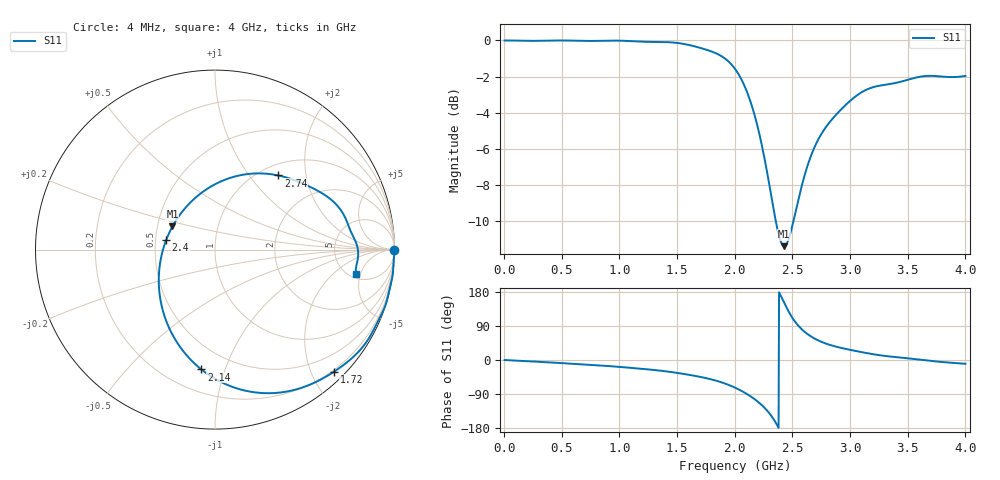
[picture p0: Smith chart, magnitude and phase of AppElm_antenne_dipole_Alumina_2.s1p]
! TOUCHSTONE file generated by CST MICROWAVE STUDIO
! Date and time: Sat May 14 10:02:54 2022
! Project name: AppElm_antenne_dipole_Alumina.cst
! Parameters = {L=33; e=0.035; f=2.45e+09; h=1.6; i=0.64; l1=2; lambda=122.449; ls=30; wl=1.7; ws=80}
! Header version: 2018
! Port assignment regex: !\s*Touchstone port\s*([0-9]+)\s*=\s*(CST MWS port|CST DS port)\s*([0-9]+|Zmin|Zmax)\s*\(\"(.*)\"\)(\s*mode\s*([0-9]+))?.*
! Touchstone port assignment:
! Touchstone port 1 = CST MWS port 1 ("")
# GHz S MA R 50
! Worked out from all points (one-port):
!   1000 points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, 4 MHz to 4 GHz, reference 50 ohm
!   lowest |S11| = -11.4 dB at 2.428 GHz (marker M1), VSWR 1.74, Z = 30 + j8.33 ohm
!   |S11| at or under -10 dB: 2.356 GHz to 2.508 GHz (152.5 MHz wide, 6.27 % of centre)
!   S11 on the Smith chart (normalised r, x): 4 MHz: open; 1.72 GHz: 0.17, -2.36; 2.14 GHz: 0.34, -0.83; 2.4 GHz: 0.57, +0.07; 2.74 GHz: 1.20, +1.40; 4 GHz: 5.58, -4.25
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0.004  1 -0.1
0.504  1 -8.3
1.004  0.9986 -18.3
1.328  0.9903 -27.2
1.504  0.9841 -34.2
1.72  0.9499 -45.8
1.872  0.9098 -57.6
1.936  0.8803 -64.4
2.004  0.8329 -73.2
2.072  0.7639 -83.8
2.14  0.6719 -96.5
2.212  0.5534 -113.0
2.276  0.4399 -131.9
2.336  0.3425 -155.8
2.4  0.2773 169.0
2.428  0.2698 151.5
2.46  0.2782 132.0
2.504  0.3119 109.2
2.556  0.368 88.8
2.608  0.4262 73.8
2.668  0.4862 60.9
2.74  0.5437 49.4
2.848  0.6076 37.7
3.004  0.6823 26.6
3.196  0.742 15.4
3.504  0.7791 4.4
3.668  0.7979 -1.3
4  0.7977 -10.0
